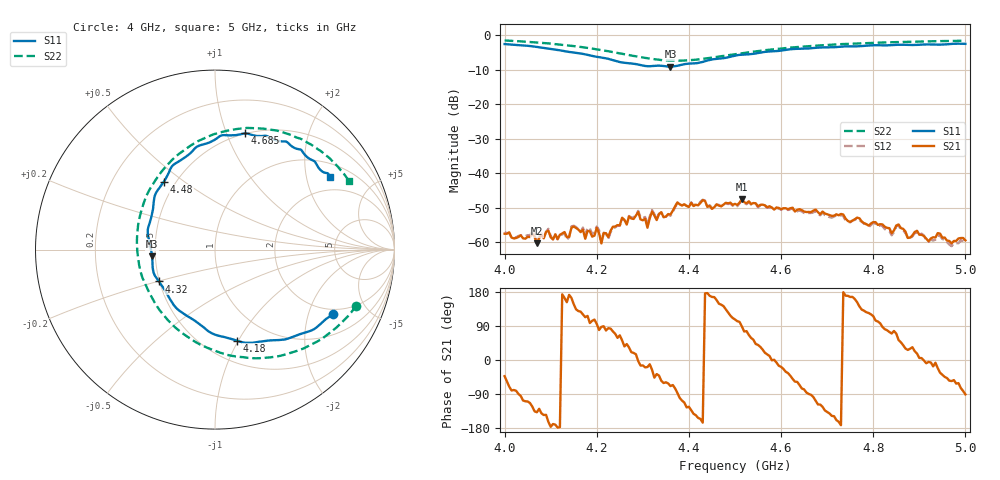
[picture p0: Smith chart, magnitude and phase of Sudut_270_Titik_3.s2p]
# Hz S RI R 50
! CMT, C1220, 16058040, 17.2.0/1
! Date: 15/08/2018 12:41:18
! Data: Format (Calibration Info)
! Freq  S11: Re/Im (F2)  S21: Re/Im (F2)  S12: Re/Im (F2)  S22: Re/Im (F2)
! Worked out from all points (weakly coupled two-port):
!   201 points, 4 GHz to 5 GHz, reference 50 ohm
!   highest |S21| = -47.48 dB at 4.515 GHz (marker M1); lowest = -60.3 dB at 4.07 GHz (marker M2)
!   lowest |S11| = -9.0 dB at 4.36 GHz (marker M3), VSWR 2.09, Z = 24 - j2.07 ohm
!   |S11| at or under -10 dB: nowhere
!   |S22| runs from -7.3 to -1.5 dB; largest |S21 - S12| = 0.00021
!   S11 on the Smith chart (normalised r, x): 4 GHz: 1.77, -2.92; 4.18 GHz: 0.71, -0.99; 4.32 GHz: 0.50, -0.20; 4.48 GHz: 0.43, +0.42; 4.685 GHz: 0.50, +1.17; 5 GHz: 1.47, +2.76
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4e9  0.6577 -0.3604  0.000983 -0.000906  0.00108 -0.000893  0.7864 -0.3122
4.07e9  0.5018 -0.4618  -0.000717 -0.000649  -0.000711 -0.000726  0.6421 -0.4616
4.095e9  0.4214 -0.4907  -0.00142 -0.000422  -0.00151 -0.000437  0.5738 -0.5098
4.135e9  0.2876 -0.5082  -0.00106 0.000551  -0.000994 0.000442  0.4407 -0.5688
4.145e9  0.2474 -0.5132  -0.00156 0.000451  -0.00167 0.000351  0.4032 -0.581
4.17e9  0.1566 -0.5172  -0.000774 0.00133  -0.00091 0.00137  0.3078 -0.6004
4.18e9  0.1237 -0.5083  -0.00065 0.00131  -0.000826 0.00141  0.2654 -0.6036
4.2e9  0.0518 -0.4872  -0.000144 0.00162  -0.000114 0.0017  0.1796 -0.6024
4.21e9  0.0144 -0.4784  4.39e-05 0.000967  8.2e-05 0.00101  0.1357 -0.5976
4.29e9  -0.2407 -0.2919  0.00275 -0.000154  0.00287 -7.71e-05  -0.2067 -0.4461
4.31e9  -0.2869 -0.2147  0.00155 -0.00052  0.00169 -0.000641  -0.277 -0.3757
4.32e9  -0.3132 -0.1777  0.00253 -0.00124  0.00262 -0.00135  -0.3091 -0.3366
4.335e9  -0.342 -0.1292  0.00194 -0.00169  0.00184 -0.00185  -0.3488 -0.2719
4.36e9  -0.3509 -0.0377  0.000921 -0.00237  0.000824 -0.0023  -0.4042 -0.1572
4.375e9  -0.3622 0.0315  0.0002 -0.0038  0.000157 -0.00375  -0.4234 -0.0816
4.48e9  -0.2838 0.3793  -0.0026 0.00271  -0.00245 0.00275  -0.329 0.3911
4.5e9  -0.2512 0.4435  -0.00105 0.00347  -0.000958 0.00341  -0.281 0.4547
4.515e9  -0.2301 0.4734  0.000128 0.00422  0.000189 0.00408  -0.2404 0.4983
4.67e9  0.1412 0.6421  -0.000384 -0.00286  -0.000441 -0.00269  0.2043 0.6773
4.685e9  0.1683 0.6476  -0.00119 -0.00227  -0.00114 -0.0022  0.2438 0.6753
4.835e9  0.4488 0.5637  0.000447 0.00155  0.000375 0.00141  0.5487 0.5765
5e9  0.6392 0.4028  -1.34e-05 -0.00107  4.72e-05 -0.000994  0.7459 0.384
